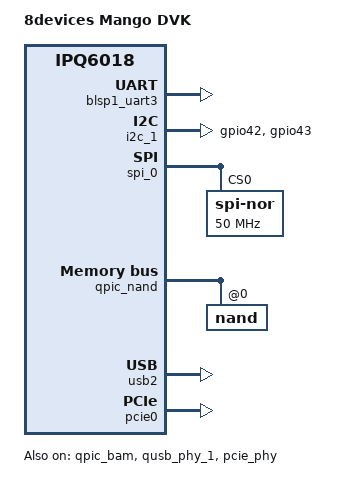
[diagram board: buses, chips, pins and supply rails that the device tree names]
// SPDX-License-Identifier: (GPL-2.0+ OR BSD-3-Clause)
/*
 * 8devices Mango DVK DTS
 *
 */

/dts-v1/;

#include <dt-bindings/gpio/gpio.h>
#include "ipq6018.dtsi"

/ {
	model = "8devices Mango DVK";
	compatible = "8dev,mango-dvk", "qcom,ipq6018";

	aliases {
		serial0 = &blsp1_uart3;
	};

	chosen {
		stdout-path = "serial0:115200n8";
		bootargs-append = " swiotlb=1";
	};
};

&blsp1_uart3 {
	pinctrl-0 = <&serial_3_pins>;
	pinctrl-names = "default";
	status = "okay";
};

&i2c_1 {
	pinctrl-0 = <&i2c_1_pins>;
	pinctrl-names = "default";
	status = "okay";
};

&spi_0 {
	cs-select = <0>;
	status = "okay";

	spi-nor@0 {
		#address-cells = <1>;
		#size-cells = <1>;
		reg = <0>;
		compatible = "jedec,spi-nor";
		spi-max-frequency = <50000000>;
	};
};

&tlmm {
	i2c_1_pins: i2c-1-pins {
		pins = "gpio42", "gpio43";
		function = "blsp2_i2c";
		drive-strength = <8>;
	};

	spi_0_pins: spi-0-pins {
		pins = "gpio38", "gpio39", "gpio40", "gpio41";
		function = "blsp0_spi";
		drive-strength = <8>;
		bias-pull-down;
	};
};

&qpic_bam {
	status = "okay";
};

&qpic_nand {
	status = "okay";

	nand@0 {
		reg = <0>;

		nand-ecc-strength = <4>;
		nand-ecc-step-size = <512>;
		nand-bus-width = <8>;
	};
};

&qusb_phy_1 {
	status = "okay";
};

&usb2 {
	status = "okay";
};

&pcie_phy {
	status = "okay";
};

&pcie0 {
	status = "okay";

	perst-gpios = <&tlmm 60 GPIO_ACTIVE_LOW>;
	wake-gpios = <&tlmm 61 GPIO_ACTIVE_HIGH>;
};
